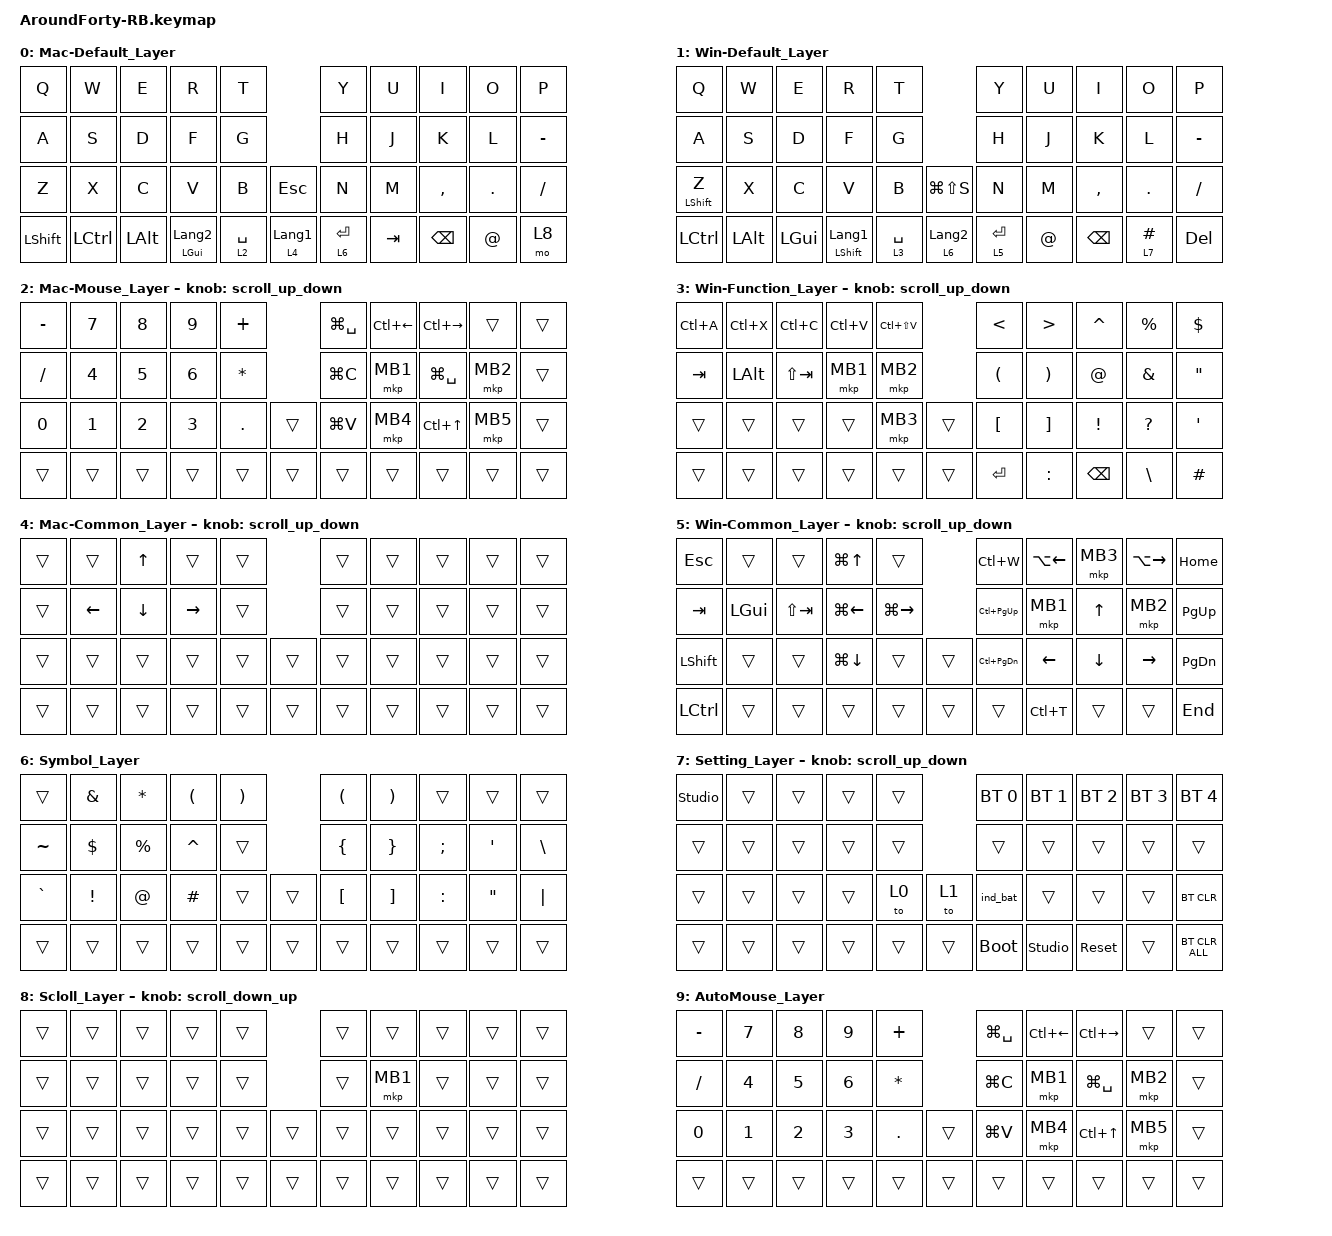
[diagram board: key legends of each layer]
#define ZMK_POINTING_DEFAULT_SCRL_VAL 100
#define MOUSE 9

#include <behaviors/rgbled_widget.dtsi>  // RGBLEDウィジェットのビヘイビアを使うため
#include <input/processors.dtsi>  // Input Processor（AML延長用）を使うため
#include <behaviors.dtsi>
#include <dt-bindings/zmk/bt.h>
#include <dt-bindings/zmk/keys.h>
#include <dt-bindings/zmk/pointing.h>

/* タップホールドの味付け */

&mt {
    flavor = "balanced";
    quick-tap-ms = <0>;
};

/ {
    /* ==== コンボ定義 ==== */

    combos {
        compatible = "zmk,combos";

        to_Setting_Layer_combo {
            bindings = <&mo 7>;
            key-positions = <31 36>;
        };

        text1 {
            bindings = <&text1>;
            key-positions = <38 30>;
        };

        text2 {
            bindings = <&text2>;
            key-positions = <26 30>;
        };

        text3 {
            bindings = <&text3>;
            key-positions = <27 30>;
        };

        text4 {
            bindings = <&text4>;
            key-positions = <28 30>;
        };

        text5 {
            bindings = <&text5>;
            key-positions = <29 30>;
        };

        macOS_Lock {
            bindings = <&macOS_Lock>;
            key-positions = <25 38>;
        };

        mousekeys {
            bindings = <&none>;
            key-positions = <5 6 7 18 17 16 15 26 27 28 29>;
        };

        click {
            bindings = <&none>;
            key-positions = <16 18>;
        };

        leftism {
            bindings = <&none>;
            key-positions = <35>;
        };

        rights {
            bindings = <&none>;
            key-positions = <37>;
        };
    };

    /* ==== マクロ定義 ==== */

    macros {
        to_layer_0: to_layer_0 {
            compatible = "zmk,behavior-macro-one-param";
            #binding-cells = <1>;
            bindings = <&to 0 &macro_param_1to1 &kp MACRO_PLACEHOLDER>;
            label = "TO_LAYER_0";
        };

        text1: text1 {
            compatible = "zmk,behavior-macro";
            #binding-cells = <0>;
            bindings = <&none &kp T &kp E &kp X &kp T &kp N1>;
            label = "TEXT1";
        };

        text2: text2 {
            compatible = "zmk,behavior-macro";
            #binding-cells = <0>;
            bindings = <&none &kp T &kp E &kp X &kp T &kp NUMBER_2>;
            label = "TEXT2";
        };

        text3: text3 {
            compatible = "zmk,behavior-macro";
            #binding-cells = <0>;
            bindings = <&none &kp T &kp E &kp X &kp T &kp N3>;
            label = "TEXT3";
        };

        text4: text4 {
            compatible = "zmk,behavior-macro";
            #binding-cells = <0>;
            bindings = <&none &kp T &kp E &kp X &kp T &kp N4>;
            label = "TEXT4";
        };

        text5: text5 {
            compatible = "zmk,behavior-macro";
            #binding-cells = <0>;
            bindings = <&none &kp T &kp E &kp X &kp T &kp N5>;
            label = "TEXT5";
        };

        macOS_Lock: macOS_Lock {
            compatible = "zmk,behavior-macro";
            #binding-cells = <0>;
            bindings = <&kp LG(LC(Q))>;
            label = "MACOS_LOCK";
        };
    };

    /* ==== カスタム・ビヘイビア定義 ==== */

    behaviors {
        /* レイヤータップ（短押しTO 0） */

        lt_to_layer_0: lt_to_layer_0 {
            compatible = "zmk,behavior-hold-tap";
            label = "LAYER_TAP_TO_0";
            bindings = <&mo>, <&to_layer_0>;

            #binding-cells = <2>;
            tapping-term-ms = <200>;
        };

        /* 通常方向（基準） */

        scroll_up_down: behavior_sensor_rotate_mouse_wheel_up_down {
            compatible = "zmk,behavior-sensor-rotate";
            #sensor-binding-cells = <0>;
            bindings = <&msc SCRL_UP>, <&msc SCRL_DOWN>;

            tap-ms = <20>;
        };

        /* ナチュラルスクロール（Mac想定：通常のエンコーダーとは逆方向） */

        scroll_down_up: behavior_sensor_rotate_mouse_wheel_down_up {
            compatible = "zmk,behavior-sensor-rotate";
            #sensor-binding-cells = <0>;

            /* 体感に合わせて UP, DOWN の順 */

            bindings = <&msc SCRL_UP>, <&msc SCRL_DOWN>;

            tap-ms = <20>;
        };
    };

    /* ==== キーマップ ==== */

    keymap {
        compatible = "zmk,keymap";

        Mac-Default_Layer {
            bindings = <
&kp Q           &kp W      &kp E         &kp R                    &kp T                          &kp Y        &kp U    &kp I          &kp O        &kp P
&kp A           &kp S      &kp D         &kp F                    &kp G                          &kp H        &kp J    &kp K          &kp L        &kp MINUS
&kp Z           &kp X      &kp C         &kp V                    &kp B        &kp ESCAPE        &kp N        &kp M    &kp COMMA      &kp PERIOD   &kp SLASH
&kp LEFT_SHIFT  &kp LCTRL  &kp LEFT_ALT  &mt LEFT_GUI LANGUAGE_2  &lt 2 SPACE  &lt 4 LANGUAGE_1  &lt 6 ENTER  &kp TAB  &kp BACKSPACE  &kp AT_SIGN  &mo 8
            >;
        };

        Win-Default_Layer {
            bindings = <
&kp Q             &kp W         &kp E         &kp R                      &kp T                          &kp Y        &kp U        &kp I          &kp O       &kp P
&kp A             &kp S         &kp D         &kp F                      &kp G                          &kp H        &kp J        &kp K          &kp L       &kp MINUS
&mt LEFT_SHIFT Z  &kp X         &kp C         &kp V                      &kp B        &kp LG(LS(S))     &kp N        &kp M        &kp COMMA      &kp PERIOD  &kp SLASH
&kp LCTRL         &kp LEFT_ALT  &kp LEFT_GUI  &mt LEFT_SHIFT LANGUAGE_1  &lt 3 SPACE  &lt 6 LANGUAGE_2  &lt 5 ENTER  &kp AT_SIGN  &kp BACKSPACE  &lt 7 HASH  &kp DELETE
            >;
        };

        Mac-Mouse_Layer {
            bindings = <
&kp MINUS     &kp NUMBER_7  &kp NUMBER_8  &kp NUMBER_9  &kp PLUS              &kp LG(SPACE)  &kp LC(LEFT)  &kp LC(RIGHT)     &trans    &trans
&kp SLASH     &kp NUMBER_4  &kp NUMBER_5  &kp NUMBER_6  &kp ASTERISK          &kp LG(C)      &mkp MB1      &kp LG(SPACE)     &mkp MB2  &trans
&kp NUMBER_0  &kp NUMBER_1  &kp NUMBER_2  &kp NUMBER_3  &kp PERIOD    &trans  &kp LG(V)      &mkp MB4      &kp LC(UP_ARROW)  &mkp MB5  &trans
&trans        &trans        &trans        &trans        &trans        &trans  &trans         &trans        &trans            &trans    &trans
            >;

            sensor-bindings = <&scroll_up_down>;
        };

        Win-Function_Layer {
            bindings = <
&kp LC(A)  &kp LC(X)     &kp LC(C)    &kp LC(V)  &kp LC(LS(V))          &kp LESS_THAN         &kp GREATER_THAN       &kp CARET        &kp PERCENT    &kp DOLLAR
&kp TAB    &kp LEFT_ALT  &kp LS(TAB)  &mkp MB1   &mkp MB2               &kp LEFT_PARENTHESIS  &kp RIGHT_PARENTHESIS  &kp AT_SIGN      &kp AMPERSAND  &kp DOUBLE_QUOTES
&trans     &trans        &trans       &trans     &mkp MB3       &trans  &kp LEFT_BRACKET      &kp RIGHT_BRACKET      &kp EXCLAMATION  &kp QUESTION   &kp SQT
&trans     &trans        &trans       &trans     &trans         &trans  &kp ENTER             &kp COLON              &kp BACKSPACE    &kp BACKSLASH  &kp HASH
            >;

            sensor-bindings = <&scroll_up_down>;
        };

        Mac-Common_Layer {
            bindings = <
&trans  &trans          &kp UP_ARROW    &trans     &trans          &trans  &trans  &trans  &trans  &trans
&trans  &kp LEFT_ARROW  &kp DOWN_ARROW  &kp RIGHT  &trans          &trans  &trans  &trans  &trans  &trans
&trans  &trans          &trans          &trans     &trans  &trans  &trans  &trans  &trans  &trans  &trans
&trans  &trans          &trans          &trans     &trans  &trans  &trans  &trans  &trans  &trans  &trans
            >;

            sensor-bindings = <&scroll_up_down>;
        };

        Win-Common_Layer {
            bindings = <
&kp ESCAPE      &trans        &trans       &kp LG(UP_ARROW)    &trans                       &kp LC(W)          &kp LA(LEFT_ARROW)  &mkp MB3        &kp LA(RIGHT_ARROW)  &kp HOME
&kp TAB         &kp LEFT_GUI  &kp LS(TAB)  &kp LG(LEFT_ARROW)  &kp LG(RIGHT_ARROW)          &kp LC(PAGE_UP)    &mkp MB1            &kp UP_ARROW    &mkp MB2             &kp PAGE_UP
&kp LEFT_SHIFT  &trans        &trans       &kp LG(DOWN_ARROW)  &trans               &trans  &kp LC(PAGE_DOWN)  &kp LEFT_ARROW      &kp DOWN_ARROW  &kp RIGHT_ARROW      &kp PAGE_DOWN
&kp LCTRL       &trans        &trans       &trans              &trans               &trans  &trans             &kp LC(T)           &trans          &trans               &kp END
            >;

            sensor-bindings = <&scroll_up_down>;
        };

        Symbol_Layer {
            bindings = <
&trans     &kp AMPERSAND    &kp ASTERISK  &kp LPAR   &kp RPAR          &kp LEFT_PARENTHESIS  &kp RIGHT_PARENTHESIS  &trans         &trans             &trans
&kp TILDE  &kp DOLLAR       &kp PERCENT   &kp CARET  &trans            &kp LEFT_BRACE        &kp RIGHT_BRACE        &kp SEMICOLON  &kp SQT            &kp BACKSLASH
&kp GRAVE  &kp EXCLAMATION  &kp AT_SIGN   &kp HASH   &trans    &trans  &kp LEFT_BRACKET      &kp RIGHT_BRACKET      &kp COLON      &kp DOUBLE_QUOTES  &kp PIPE
&trans     &trans           &trans        &trans     &trans    &trans  &trans                &trans                 &trans         &trans             &trans
            >;
        };

        Setting_Layer {
            bindings = <
&studio_unlock  &trans  &trans  &trans  &trans          &bt BT_SEL 0  &bt BT_SEL 1    &bt BT_SEL 2  &bt BT_SEL 3  &bt BT_SEL 4
&trans          &trans  &trans  &trans  &trans          &trans        &trans          &trans        &trans        &trans
&trans          &trans  &trans  &trans  &to 0   &to 1   &ind_bat      &trans          &trans        &trans        &bt BT_CLR
&trans          &trans  &trans  &trans  &trans  &trans  &bootloader   &studio_unlock  &sys_reset    &trans        &bt BT_CLR_ALL
            >;

            sensor-bindings = <&scroll_up_down>;
        };

        /* スクロール専用レイヤ（overlay 側で scroll-layers に指定して有効化） */

        Scloll_Layer {
            bindings = <
&trans  &trans  &trans  &trans  &trans          &trans  &trans    &trans  &trans  &trans
&trans  &trans  &trans  &trans  &trans          &trans  &mkp MB1  &trans  &trans  &trans
&trans  &trans  &trans  &trans  &trans  &trans  &trans  &trans    &trans  &trans  &trans
&trans  &trans  &trans  &trans  &trans  &trans  &trans  &trans    &trans  &trans  &trans
            >;

            /* ナチュラルスクロールを適用 */

            sensor-bindings = <&scroll_down_up>;
        };

        AutoMouse_Layer {
            bindings = <
&kp MINUS     &kp NUMBER_7  &kp NUMBER_8  &kp NUMBER_9  &kp PLUS              &kp LG(SPACE)  &kp LC(LEFT)  &kp LC(RIGHT)     &trans    &trans
&kp SLASH     &kp NUMBER_4  &kp NUMBER_5  &kp NUMBER_6  &kp ASTERISK          &kp LG(C)      &mkp MB1      &kp LG(SPACE)     &mkp MB2  &trans
&kp NUMBER_0  &kp NUMBER_1  &kp NUMBER_2  &kp NUMBER_3  &kp PERIOD    &trans  &kp LG(V)      &mkp MB4      &kp LC(UP_ARROW)  &mkp MB5  &trans
&trans        &trans        &trans        &trans        &trans        &trans  &trans         &trans        &trans            &trans    &trans
            >;
        };
    };
};

/* ★ ここは “トップレベル”。/ { … } の “外” に置くのが正解！ */
/* クリックなどのマウス操作のたびに MOUSE(=6) を 2000ms 延長（AML用） */

&mkp_input_listener { input-processors = <&zip_temp_layer 9 2000>; };
